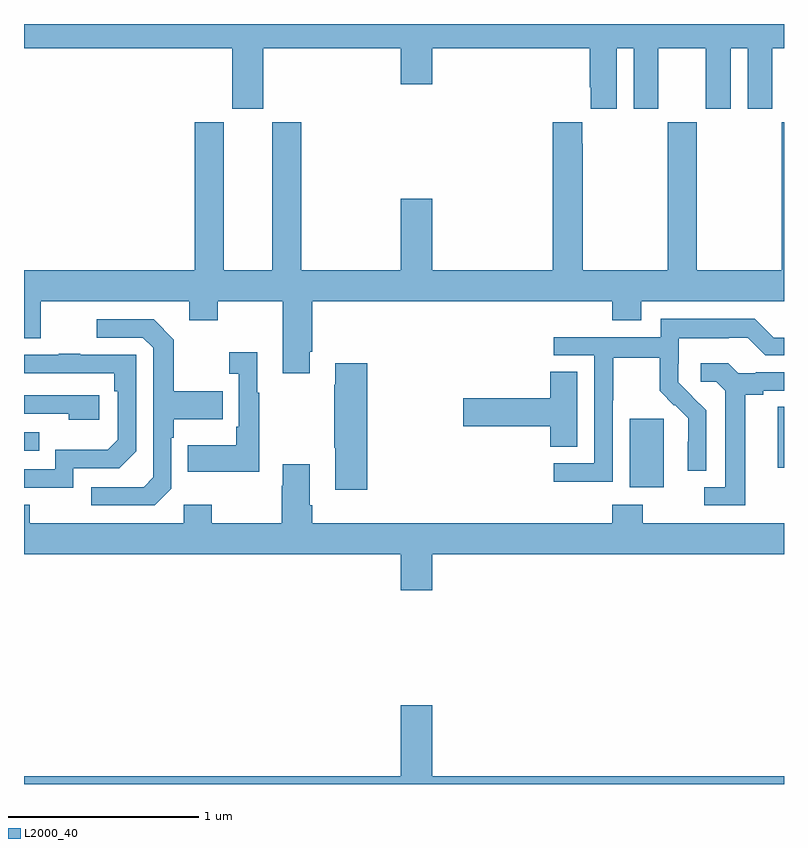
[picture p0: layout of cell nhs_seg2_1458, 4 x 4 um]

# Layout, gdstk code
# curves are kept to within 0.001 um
import gdstk
lib = gdstk.Library(unit=1e-6, precision=1e-09)
def R(c, l, rs):  # rectangles x0, y0, x1, y1
    for r in rs: c.add(gdstk.rectangle(r[:2], r[2:], *l))
def P(c, l, *ps):  # polygons
    for p in ps: c.add(gdstk.Polygon(p, *l))
L2000_40 = (2000, 40)

nhs_seg2_1458 = lib.new_cell('nhs_seg2_1458')
R(nhs_seg2_1458, L2000_40, [(190.187,609.362,190.366,609.723), (190.967,609.465,191,609.785), (187,609.555,187.079,609.651)])
P(nhs_seg2_1458, L2000_40, [(187,611.672),(188.096,611.672),(188.096,611.355),(188.26,611.355),(188.26,611.672),(188.984,611.672),(188.984,611.484),(189.148,611.484),(189.148,611.672),(189.977,611.672),(189.977,611.467),(189.983,611.467),(189.983,611.355),(190.12,611.355),(190.12,611.672),(190.208,611.672),(190.208,611.355),(190.339,611.355),(190.339,611.672),(190.589,611.672),(190.589,611.355),(190.72,611.355),(190.72,611.672),(190.808,611.672),(190.808,611.355),(190.939,611.355),(190.939,611.672),(191,611.672),(191,611.8),(187,611.8)],
  [(188.306,611.283),(188.306,610.504),(188.05,610.504),(188.05,611.283),(187.898,611.283),(187.898,610.504),(187,610.504),(187,610.146),(187.087,610.146),(187.087,610.34),(187.871,610.34),(187.871,610.241),(188.019,610.241),(188.019,610.34),(188.363,610.34),(188.363,609.963),(188.503,609.963),(188.503,610.075),(188.516,610.075),(188.516,610.34),(190.097,610.34),(190.097,610.241),(190.249,610.241),(190.249,610.34),(191,610.34),(191,611.284),(190.987,611.284),(190.987,610.504),(190.542,610.504),(190.542,611.284),(190.387,611.284),(190.387,610.504),(189.942,610.504),(189.942,611.171),(189.937,611.171),(189.937,611.284),(189.782,611.284),(189.782,610.504),(189.148,610.504),(189.148,610.879),(188.984,610.879),(188.984,610.504),(188.459,610.504),(188.459,611.283)],
  [(190.098,609.82),(190.101,609.82),(190.101,610.044),(190.345,610.044),(190.345,609.869),(190.422,609.792),(190.425,609.795),(190.496,609.725),(190.496,609.602),(190.494,609.602),(190.494,609.448),(190.59,609.448),(190.59,609.766),(190.444,609.914),(190.444,610.011),(190.446,610.011),(190.446,610.145),(190.709,610.145),(190.709,610.149),(190.809,610.149),(190.902,610.056),(191,610.056),(191,610.149),(190.947,610.149),(190.847,610.249),(190.35,610.249),(190.35,610.152),(189.789,610.152),(189.789,610.056),(190.002,610.056),(190.002,609.489),(189.789,609.489),(189.789,609.391),(190.098,609.391)],
  [(187.776,609.354),(187.776,609.623),(187.789,609.623),(187.789,609.719),(188.045,609.719),(188.045,609.867),(187.789,609.867),(187.789,610.139),(187.683,610.245),(187.383,610.245),(187.383,610.149),(187.626,610.149),(187.68,610.095),(187.68,609.414),(187.629,609.363),(187.353,609.363),(187.353,609.267),(187.689,609.267)],
  [(188.239,609.859),(188.227,609.859),(188.227,610.072),(188.079,610.072),(188.079,609.959),(188.13,609.959),(188.13,609.679),(188.118,609.679),(188.118,609.583),(187.861,609.583),(187.861,609.443),(188.239,609.443)],
  [(187.26,609.462),(187.5,609.462),(187.59,609.552),(187.59,610.059),(187.295,610.059),(187.295,610.064),(187.183,610.064),(187.183,610.059),(187,610.059),(187,609.963),(187.474,609.963),(187.474,609.866),(187.494,609.866),(187.494,609.612),(187.441,609.559),(187.164,609.559),(187.164,609.456),(187,609.456),(187,609.36),(187.26,609.36)],
  [(188.807,610.015),(188.639,610.015),(188.639,609.902),(188.632,609.902),(188.632,609.571),(188.639,609.571),(188.639,609.348),(188.807,609.348)],
  [(190.795,609.848),(190.891,609.848),(190.891,609.87),(191,609.87),(191,609.966),(190.852,609.966),(190.852,609.963),(190.758,609.963),(190.706,610.015),(190.563,610.015),(190.563,609.918),(190.644,609.918),(190.691,609.871),(190.691,609.363),(190.581,609.363),(190.581,609.267),(190.795,609.267)],
  [(189.913,609.971),(189.77,609.971),(189.77,609.83),(189.312,609.83),(189.312,609.683),(189.77,609.683),(189.77,609.574),(189.913,609.574)],
  [(187.396,609.846),(187,609.846),(187,609.75),(187.235,609.75),(187.235,609.716),(187.396,609.716)],
  [(189.148,609.008),(191,609.008),(191,609.172),(190.257,609.172),(190.257,609.271),(190.097,609.271),(190.097,609.172),(188.516,609.172),(188.516,609.268),(188.503,609.268),(188.503,609.484),(188.363,609.484),(188.363,609.371),(188.356,609.371),(188.356,609.172),(187.989,609.172),(187.989,609.271),(187.842,609.271),(187.842,609.172),(187.029,609.172),(187.029,609.271),(187,609.271),(187,609.008),(188.984,609.008),(188.984,608.82),(189.148,608.82)],
  [(191,607.84),(189.148,607.84),(189.148,608.215),(188.984,608.215),(188.984,607.84),(187,607.84),(187,607.8),(191,607.8)])

lib.write_gds('nhs_seg2_1458.gds')
